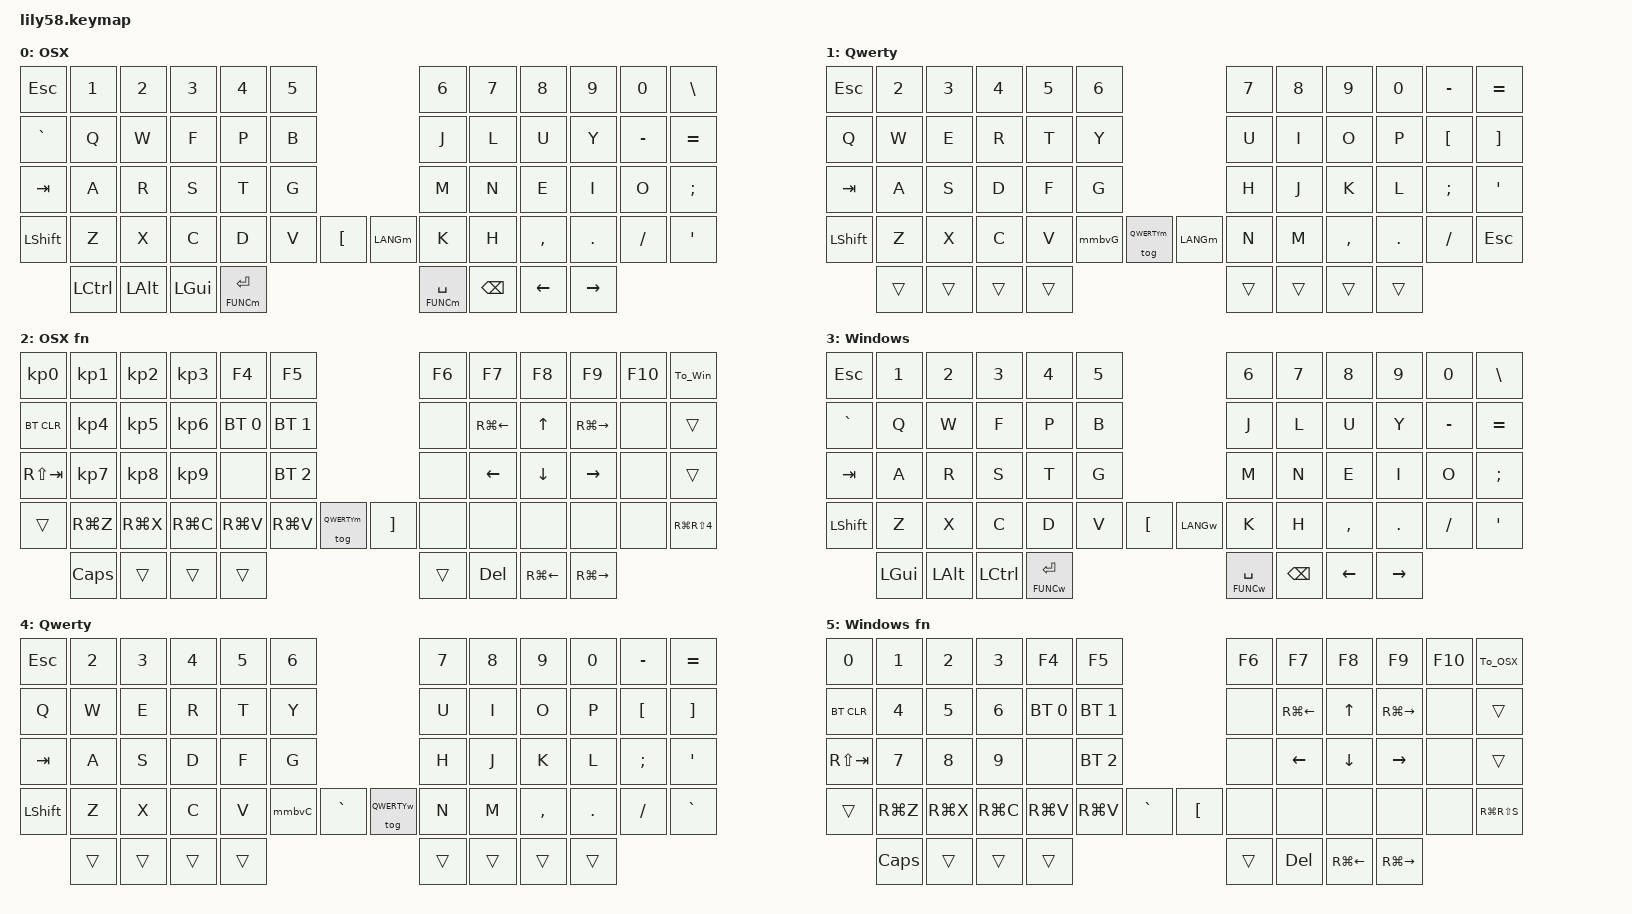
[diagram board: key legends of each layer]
/*
 * Copyright (c) 2020 The ZMK Contributors
 *
 * SPDX-License-Identifier: MIT
 */

#include <behaviors.dtsi>
#include <dt-bindings/zmk/keys.h>
#include <dt-bindings/zmk/bt.h>
#include <dt-bindings/zmk/ext_power.h>

#define COLEMAKm 0
#define QWERTYm  1
#define FUNCm    2
#define COLEMAKw 3
#define QWERTYw  4
#define FUNCw    5


/ {
    behaviors {
        mmbvG: MMBVG {
            compatible = "zmk,behavior-mod-morph";
            label = "MOD_MORPH_BVG";
            #binding-cells = <0>;
            bindings = <&kp B>, <&kp RG(V)>;
            mods = <(MOD_LGUI)>;
        };

        mmbvC: MMBVC {
            compatible = "zmk,behavior-mod-morph";
            label = "MOD_MORPH_BVC";
            #binding-cells = <0>;
            bindings = <&kp B>, <&kp RC(V)>;
            mods = <(MOD_LCTL)>;
        };
    };

    macros {
        sLangM: sLangM {
            compatible = "zmk,behavior-macro";
            #binding-cells = <0>;
            bindings
                = <&macro_press &kp RCTRL>
                , <&macro_tap &kp SPACE>
                , <&macro_wait_time 100>
                , <&macro_release &kp RCTRL>
                ;
        };

        LANGm: LANGm {
            compatible = "zmk,behavior-macro";
            #binding-cells = <0>;
            bindings
                = <&macro_press &kp RCTRL>
                , <&macro_tap &kp SPACE>
                , <&macro_wait_time 100>
                , <&macro_release &kp RCTRL>
                , <&macro_tap &tog QWERTYm>
                ;
        };

        LANGw: LANGw {
            compatible = "zmk,behavior-macro";
            #binding-cells = <0>;
            bindings
                = <&kp GRAVE>
                , <&tog QWERTYw>
                ;
        };

        To_Win: To_Win {
            compatible = "zmk,behavior-macro";
            #binding-cells = <0>;
            bindings
                = <&bt BT_SEL 2>
                , <&to COLEMAKw>
                ;
        };

        To_OSX: To_OSX {
            compatible = "zmk,behavior-macro";
            #binding-cells = <0>;
            bindings
                = <&bt BT_SEL 0>
                , <&to COLEMAKm>
                ;
        };
    };

    keymap {
        compatible = "zmk,keymap";
                                
        colemakm {
            display-name = "OSX";
            bindings = <
&kp ESC     &kp N1 &kp N2 &kp N3   &kp N4   &kp N5                                      &kp N6 &kp N7   &kp N8    &kp N9  &kp N0     &kp BSLH
&kp GRAVE   &kp Q  &kp W  &kp F    &kp P    &kp B                                       &kp J  &kp L    &kp U     &kp Y   &kp MINUS  &kp EQUAL
&kp TAB     &kp A  &kp R  &kp S    &kp T    &kp G                                       &kp M  &kp N    &kp E     &kp I   &kp O      &kp SEMI
&kp LSHFT   &kp Z  &kp X  &kp C    &kp D    &kp V           &kp LBKT    &LANGm          &kp K  &kp H    &kp COMMA &kp DOT &kp FSLH   &kp APOS
            &kp LCTRL   &kp LALT    &kp LGUI    &lt FUNCm ENTER       &lt FUNCm SPACE       &kp BSPC    &kp LEFT    &kp RIGHT
            >;
        };

        qwertym {
            display-name = "Qwerty";
            bindings = <
&kp ESC     &kp N2      &kp N3      &kp N4     &kp N5       &kp N6                              &kp N7      &kp N8      &kp N9      &kp N0      &kp MINUS       &kp EQUAL
&kp Q       &kp W       &kp E       &kp R      &kp T        &kp Y                               &kp U       &kp I       &kp O       &kp P       &kp LBKT        &kp RBKT
&kp TAB     &kp A       &kp S       &kp D      &kp F        &kp G                               &kp H       &kp J       &kp K       &kp L       &kp SEMI        &kp APOS
&kp LSHFT   &kp Z       &kp X       &kp C      &kp V        &mmbvG   &tog QWERTYm   &LANGm      &kp N       &kp M       &kp COMMA   &kp DOT     &kp FSLH        &kp ESC
                                    &trans    &trans  &trans         &trans         &trans              &trans    &trans    &trans
            >;
        };

        funcm {
            display-name = "OSX fn";
            bindings = <
&kp KP_N0   &kp KP_N1    &kp KP_N2  &kp KP_N3   &kp F4      &kp F5                                          &kp F6      &kp F7      &kp F8      &kp F9      &kp F10     &To_Win
&bt BT_CLR  &kp KP_N4    &kp KP_N5  &kp KP_N6   &bt BT_SEL 0 &bt BT_SEL 1                                   &none       &kp RG(LEFT) &kp UP     &kp RG(RIGHT) &none     &trans
&kp RS(TAB) &kp KP_N7    &kp KP_N8  &kp KP_N9   &none       &bt BT_SEL 2                                    &none       &kp LEFT    &kp DOWN    &kp RIGHT   &none       &trans
&trans      &kp RG(Z) &kp RG(X)  &kp RG(C)   &kp RG(V)   &kp RG(V)       &tog QWERTYm    &kp RBKT        &none       &none       &none       &none       &none       &kp RG(RS(N4))
                                            &kp CAPS  &trans  &trans        &trans          &trans      &kp DEL      &kp RG(LEFT)    &kp RG(RIGHT)
            >;
        };

// ------------------------------------------------------------------------------------------------------------
// ------------------------------------------------------------------------------------------------------------
// ------------------------------------------------------------------------------------------------------------

        colemakw {
            display-name = "Windows";
            bindings = <
&kp ESC     &kp N1 &kp N2 &kp N3   &kp N4   &kp N5                                          &kp N6 &kp N7   &kp N8    &kp N9  &kp N0     &kp BSLH
&kp GRAVE   &kp Q  &kp W  &kp F    &kp P    &kp B                                           &kp J  &kp L    &kp U     &kp Y   &kp MINUS  &kp EQUAL
&kp TAB     &kp A  &kp R  &kp S    &kp T    &kp G                                           &kp M  &kp N    &kp E     &kp I   &kp O      &kp SEMI
&kp LSHFT   &kp Z  &kp X  &kp C    &kp D    &kp V       &kp LBKT            &LANGw          &kp K  &kp H    &kp COMMA &kp DOT &kp FSLH   &kp APOS
            &kp LGUI   &kp LALT    &kp LCTRL            &lt FUNCw ENTER     &lt FUNCw SPACE &kp BSPC    &kp LEFT    &kp RIGHT
            >;
        };

        qwertyw {
            display-name = "Qwerty";
            bindings = <
&kp ESC     &kp N2      &kp N3      &kp N4     &kp N5       &kp N6                              &kp N7      &kp N8      &kp N9      &kp N0      &kp MINUS       &kp EQUAL
&kp Q       &kp W       &kp E       &kp R      &kp T        &kp Y                               &kp U       &kp I       &kp O       &kp P       &kp LBKT        &kp RBKT
&kp TAB     &kp A       &kp S       &kp D      &kp F        &kp G                               &kp H       &kp J       &kp K       &kp L       &kp SEMI        &kp APOS
&kp LSHFT   &kp Z       &kp X       &kp C      &kp V        &mmbvC    &kp GRAVE    &tog QWERTYw &kp N       &kp M       &kp COMMA   &kp DOT     &kp FSLH        &kp GRAVE
                                &trans    &trans  &trans              &trans       &trans       &trans    &trans    &trans
            >;
        };

        funcw {
            display-name = "Windows fn";
            bindings = <
&kp N0      &kp N1      &kp N2      &kp N3      &kp F4      &kp F5                                          &kp F6      &kp F7      &kp F8      &kp F9      &kp F10     &To_OSX
&bt BT_CLR  &kp N4      &kp N5      &kp N6      &bt BT_SEL 0 &bt BT_SEL 1                                   &none       &kp RG(LEFT) &kp UP     &kp RG(RIGHT) &none     &trans
&kp RS(TAB) &kp N7      &kp N8      &kp N9      &none       &bt BT_SEL 2                                    &none       &kp LEFT    &kp DOWN    &kp RIGHT   &none       &trans
&trans      &kp RG(Z) &kp RG(X)   &kp RG(C)   &kp RG(V)   &kp RG(V)       &kp GRAVE       &kp LBKT        &none       &none       &none       &none       &none       &kp RG(RS(S))
                                            &kp CAPS  &trans  &trans        &trans          &trans          &kp DEL      &kp RG(LEFT)    &kp RG(RIGHT)
            >;
        };
    };
};
